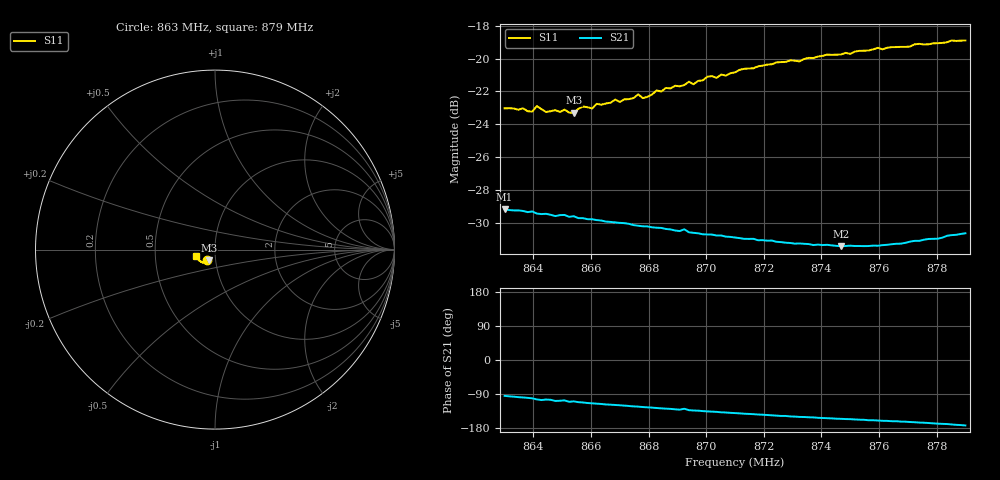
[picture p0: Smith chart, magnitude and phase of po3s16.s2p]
# HZ S RI R 50
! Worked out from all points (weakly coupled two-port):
!   101 points, 863 MHz to 879 MHz, reference 50 ohm
!   highest |S21| = -29.17 dB at 863 MHz (marker M1); lowest = -31.4 dB at 874.68 MHz (marker M2)
!   lowest |S11| = -23.3 dB at 865.4 MHz (marker M3), VSWR 1.15, Z = 46.5 - j5.59 ohm
!   |S11| at or under -10 dB: start of sweep to end of sweep
!   S12 and S22 are empty: the file has one direction only
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8.63e8  -0.0426 -0.0562  -0.00282 -0.0347  0 0  0 0
8.6396e8  -0.0384 -0.0573  -0.0066 -0.0336  0 0  0 0
8.6412e8  -0.0423 -0.0579  -0.00821 -0.0328  0 0  0 0
8.6444e8  -0.0378 -0.0574  -0.00831 -0.0327  0 0  0 0
8.6508e8  -0.0339 -0.0612  -0.0095 -0.0321  0 0  0 0
8.654e8  -0.0331 -0.0599  -0.0109 -0.0313  0 0  0 0
8.6572e8  -0.0356 -0.062  -0.0123 -0.0303  0 0  0 0
8.6604e8  -0.0347 -0.0614  -0.0134 -0.0296  0 0  0 0
8.662e8  -0.0362 -0.0632  -0.0138 -0.0292  0 0  0 0
8.67e8  -0.036 -0.0644  -0.0156 -0.0275  0 0  0 0
8.6764e8  -0.0387 -0.0675  -0.0169 -0.026  0 0  0 0
8.678e8  -0.0392 -0.0649  -0.0173 -0.0256  0 0  0 0
8.6828e8  -0.0395 -0.0696  -0.0183 -0.0245  0 0  0 0
8.6844e8  -0.0393 -0.0689  -0.0186 -0.0242  0 0  0 0
8.694e8  -0.0445 -0.0725  -0.02 -0.0219  0 0  0 0
8.6956e8  -0.0447 -0.0706  -0.0202 -0.0215  0 0  0 0
8.7004e8  -0.0483 -0.0736  -0.0208 -0.0204  0 0  0 0
8.71e8  -0.0538 -0.0732  -0.0219 -0.0183  0 0  0 0
8.7372e8  -0.0714 -0.0706  -0.0238 -0.0129  0 0  0 0
8.7468e8  -0.0789 -0.0661  -0.0244 -0.0113  0 0  0 0
8.7644e8  -0.0921 -0.0571  -0.0258 -0.00864  0 0  0 0
8.79e8  -0.1076 -0.0361  -0.0292 -0.00369  0 0  0 0
